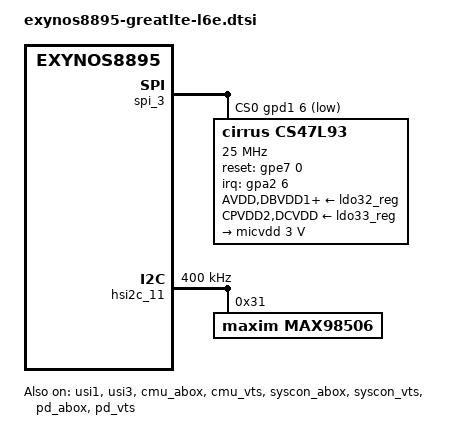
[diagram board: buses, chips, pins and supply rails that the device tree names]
// SPDX-License-Identifier: GPL-2.0 OR BSD-3-Clause
/*
 * Samsung Galaxy Note 8 (greatlte, SM-N950N) board DT, part "l6e":
 * L6E audio: codec, amplifier, ABOX, VTS (L6E 4).
 *
 * Included at the end of exynos8895-greatlte.dts, after L0's nodes, in the merge
 * order of FULL_IMAGE_PLAN.md 2.2. Owner: WP-6E; no other work package edits this
 * file (plan 2.3 rule D1). A node that two parts both configure (&usi9, &usi10)
 * is written identically in both files: dtc lets the later file win on a differing
 * value, which gl-verify V-DUP reports as an error. L0's reserved-memory stays in
 * the .dts; carveout additions and flag changes are &label edits here (plan X-8).
 */

#include <dt-bindings/clock/samsung,exynos8895.h>
#include <dt-bindings/gpio/gpio.h>
#include <dt-bindings/interrupt-controller/arm-gic.h>
#include <dt-bindings/soc/samsung,exynos-usi.h>

/*
 * Bus aliases of the codec SPI and the amplifier I2C (L6_rest 4.0): identical to
 * wp/l6f-fp's exynos8895-greatlte-l6com.dtsi (DUPLICATE, rule D1), so the amp stays
 * 11-0031 and the codec spi3.0 as in stock.
 */
/ {
	aliases {
		i2c11 = &hsi2c_11;	/* FDT:4182 hsi2c11 = "/hsi2c@104A0000" */
		spi3 = &spi_3;		/* FDT:4207 spi3 = "/spi@10460000" */
	};
};

/* ---- L6E 4.1: codec bus and CS47L93 ------------------------------------------------ */
&usi1 {
	samsung,mode = <USI_MODE_SPI>;		/* stock usi_mode "spi" (FDT:4987-5082) */
	status = "okay";
};

&pinctrl_peric0 {
	codec_reset: codec-reset-pins {		/* FDT:1596-1605 */
		samsung,pins = "gpe7-0";
		samsung,pin-function = <EXYNOS_PIN_FUNC_OUTPUT>;
		samsung,pin-pud = <EXYNOS_PIN_PULL_NONE>;
		samsung,pin-con-pdn = <3>;
		samsung,pin-pud-pdn = <1>;
		samsung,pin-val = <0>;
	};

	max98506_ctl: max98506-ctl-pins {	/* FDT:1615-1623 */
		samsung,pins = "gpf1-6";
		samsung,pin-function = <EXYNOS_PIN_FUNC_INPUT>;
		samsung,pin-pud = <EXYNOS_PIN_PULL_NONE>;
		samsung,pin-con-pdn = <2>;
		samsung,pin-pud-pdn = <0>;
	};
};

&pinctrl_alive {
	codec_irq: codec-irq-pins {		/* FDT:319-325 */
		samsung,pins = "gpa2-6";
		samsung,pin-function = <EXYNOS_PIN_FUNC_EINT>;
		samsung,pin-pud = <EXYNOS_PIN_PULL_NONE>;
	};
};

&spi_3 {
	/*
	 * Stock drove gpd1-6 as the controller's nCS in manual-CS mode (FDT:6320,
	 * :1474-1480, :6415). The 8895 port config forces CS_AUTO
	 * (A:drivers/spi/spi-s3c64xx.c:1562-1572), so the message-long CS stock gave
	 * the codec is a GPIO CS on the same pin (L6E 4.1, R-E4).
	 */
	pinctrl-names = "default";
	pinctrl-0 = <&spi3_bus &spi3_cs>;
	cs-gpios = <&gpd1 6 GPIO_ACTIVE_LOW>;
	status = "okay";

	cs47l93: codec@0 {
		compatible = "cirrus,cs47l93";		/* FDT:6324 */
		reg = <0>;
		spi-max-frequency = <25000000>;		/* FDT:6326 */
		interrupt-parent = <&gpa2>;		/* FDT:6330 */
		interrupts = <6 IRQ_TYPE_LEVEL_LOW>;	/* FDT:6327; irq-madera default level-low */
		interrupt-controller;
		#interrupt-cells = <2>;
		gpio-controller;
		#gpio-cells = <2>;
		#sound-dai-cells = <1>;
		pinctrl-names = "default";
		pinctrl-0 = <&codec_reset &codec_irq>;	/* FDT:6334-6335 */
		AVDD-supply = <&ldo32_reg>;		/* FDT:6336-6340 */
		DBVDD1-supply = <&ldo32_reg>;
		CPVDD1-supply = <&ldo32_reg>;
		CPVDD2-supply = <&ldo33_reg>;
		DCVDD-supply = <&ldo33_reg>;
		reset-gpios = <&gpe7 0 GPIO_ACTIVE_HIGH>;	/* FDT:6341 flags 0; ACK requests OUT_LOW = reset held */
		clocks = <&pmu_system_controller 0>;		/* MCLK1 = PMU CLKOUT0 (L6E 4.7) */
		clock-names = "mclk1";
		assigned-clocks = <&pmu_system_controller 0>;
		assigned-clock-parents = <&oscclk>;		/* CLKOUT0_SEL_TCXO (S:.../clkout_exynos8895.c:6) */
		cirrus,micbias1 = <1800 0 1 1 1 1 1 0>;		/* FDT:6342 <0x708 ...>, L6E 5.2(d) */
		cirrus,micbias2 = <2800 0 1 1 1 1 1 0>;		/* FDT:6343 <0xaf0 ...> */
		cirrus,dmic-ref = <0 1 1 0>;			/* FDT:6344 */
		cirrus,inmode = <0 0 0 0 0 0 0 0>;		/* stock <0 2 2 0 2 2 0 0>: DMIC inmode is set by "IN2 Mode" (L6E 4.1) */
		cirrus,out-mono = <0 0 1 1 0 0>;		/* FDT:6346 */
		cirrus,auxpdm-falling-edge;			/* FDT:6347 */
		cirrus,gpio-defaults = <0xffffffff 0xffffffff 0xffffffff 0xffffffff 0x2000 0x6000 0x2000 0x6000
					0x2000 0x6000 0x2000 0x6000 0x2000 0x6000 0x2000 0x6000 0x2001 0x9000
					0x2001 0x9000 0x2001 0x9000 0x2000 0x6000 0x2000 0x6000 0x2000 0x6000
					0x2000 0x6000 0x2000 0x6000>;	/* FDT:6348 verbatim, L6E 4.1a / 5.2(e) */
		cirrus,gpsw = <3>;				/* FDT:6349 */

		micvdd {					/* FDT:6408-6411 */
			regulator-min-microvolt = <3000000>;
			regulator-max-microvolt = <3000000>;
		};

		controller-data {				/* FDT:6413-6416 */
			samsung,spi-feedback-delay = <1>;
		};

		cirrus,accdet {					/* FDT:6353-6382 */
			#address-cells = <1>;
			#size-cells = <0>;

			acc@1 {
				reg = <2>;
				cirrus,micd-bias-start-time = <1>;
				cirrus,micd-pol-gpios = <0>;
				cirrus,micd-rate = <7>;
				cirrus,micd-detect-debounce-ms = <300>;
				cirrus,micd-clamp-mode = <8>;
				cirrus,jd-use-jd2;
				cirrus,hs-mic = <1>;
				cirrus,init-delay-ms = <30>;
				cirrus,micd-dbtime = <1>;
				cirrus,micd-timeout-ms = <1000>;
				cirrus,micd-force-micbias;
				cirrus,hpdet-short-circuit-imp = <2>;
				cirrus,micd-ranges = <116 226  173 582  321 115  752 114  1257 217>;
				cirrus,micd-software-compare;
				cirrus,micd-open-circuit-declare = <1>;
				cirrus,jd-wake-time = <5000>;
				cirrus,hpdet-ext-res = <3400>;
				cirrus,moisture-pin = <7>;
				cirrus,moisture-imp = <2000>;
				cirrus,moisture-debounce = <40>;
				cirrus,micd-configs = <0 1 4 0 1>;
				cirrus,hpd-pins = <2 5 0 0>;
			};
		};
	};
};

/* ---- L6E 4.2: amplifier bus and MAX98506 ------------------------------------------- */
&usi3 {
	samsung,mode = <USI_MODE_I2C0_1>;	/* stock "hsi2c0_hsi2c1" */
	status = "okay";
};

&hsi2c_11 {
	clock-frequency = <400000>;		/* stock HSI2C_FS_TX_CLOCK (S:drivers/i2c/busses/i2c-exynos5.c:212) */
	#address-cells = <1>;			/* I2C bus cells (the ACK node has a child only from here) */
	#size-cells = <0>;
	status = "okay";

	max98506: amplifier@31 {
		compatible = "maxim,max98506";		/* FDT:5418 */
		reg = <0x31>;				/* FDT:5420 */
		#sound-dai-cells = <1>;
		pinctrl-names = "default";
		pinctrl-0 = <&max98506_ctl>;		/* FDT:5422 second entry */
		maxim,spk-gain = <0x14>;		/* FDT:5425-5431 */
		maxim,sysclk = <12288000>;
		maxim,vmon_slot = <0>;
		maxim,platform_info = <0x02 0x00 0x00 0x00 0x00 0x2a>;
		maxim,boost_step = <15 15 15 15 15 15 15 15 15 15 15 15 15 15 2 0>;
		maxim,adc_threshold = <7>;
		maxim,registers-of-amp = <0x1f 0x00 0x21 0xc0 0x2d 0x14 0x2f 0x00>;
	};
};

/* ---- L6E 4.3: ABOX/VTS pins (selected only by the ABOX/VTS drivers, no_pm_save 5.11) - */
&pinctrl_abox {
	status = "okay";

	aud_codec_mclk: aud-codec-mclk-pins {			/* FDT:518-524 */
		samsung,pins = "gph0-0";
		samsung,pin-function = <2>;
		samsung,pin-pud = <1>;
	};
	aud_codec_mclk_idle: aud-codec-mclk-idle-pins {		/* FDT:526-532 */
		samsung,pins = "gph0-0";
		samsung,pin-function = <0>;
		samsung,pin-pud = <1>;
	};
	aud_codec_bus: aud-codec-bus-pins {			/* FDT:534-540 */
		samsung,pins = "gph0-1", "gph0-2", "gph0-3", "gph0-4";
		samsung,pin-function = <2>;
		samsung,pin-pud = <1>;
	};
	aud_codec_bus_idle: aud-codec-bus-idle-pins {		/* FDT:542-548 */
		samsung,pins = "gph0-1", "gph0-2", "gph0-3", "gph0-4";
		samsung,pin-function = <0>;
		samsung,pin-pud = <1>;
	};
	aud_spk_bus: aud-spk-bus-pins {				/* FDT:550-556 */
		samsung,pins = "gph0-5", "gph0-6", "gph0-7";
		samsung,pin-function = <2>;
		samsung,pin-pud = <1>;
	};
	aud_spk_bus_idle: aud-spk-bus-idle-pins {		/* FDT:558-564 */
		samsung,pins = "gph0-5", "gph0-6", "gph0-7";
		samsung,pin-function = <0>;
		samsung,pin-pud = <1>;
	};
	aud_fm_bus: aud-fm-bus-pins {				/* FDT:566-572 */
		samsung,pins = "gph1-0", "gph1-1", "gph1-2";
		samsung,pin-function = <2>;
		samsung,pin-pud = <1>;
	};
	aud_fm_bus_idle: aud-fm-bus-idle-pins {			/* FDT:574-580 */
		samsung,pins = "gph1-0", "gph1-1", "gph1-2";
		samsung,pin-function = <0>;
		samsung,pin-pud = <1>;
	};
	aud_bt_bus: aud-bt-bus-pins {				/* FDT:582-588 */
		samsung,pins = "gph1-3", "gph1-4", "gph1-5", "gph1-6";
		samsung,pin-function = <2>;
		samsung,pin-pud = <1>;
	};
	aud_bt_bus_idle: aud-bt-bus-idle-pins {			/* FDT:590-596 */
		samsung,pins = "gph1-3", "gph1-4", "gph1-5", "gph1-6";
		samsung,pin-function = <0>;
		samsung,pin-pud = <1>;
	};
	aud_cdma_bus: aud-cdma-bus-pins {			/* FDT:598-604 */
		samsung,pins = "gph3-0", "gph3-1", "gph3-2", "gph3-3";
		samsung,pin-function = <2>;
		samsung,pin-pud = <1>;
	};
	aud_cdma_bus_idle: aud-cdma-bus-idle-pins {		/* FDT:606-612 */
		samsung,pins = "gph3-0", "gph3-1", "gph3-2", "gph3-3";
		samsung,pin-function = <0>;
		samsung,pin-pud = <1>;
	};
};

&pinctrl_vts {
	status = "okay";

	dmic_bus_clk: dmic-bus-clk-pins {			/* FDT:626-633 */
		samsung,pins = "gph2-2";
		samsung,pin-function = <2>;
		samsung,pin-pud = <1>;
		samsung,pin-con-pdn = <2>;
	};
	amic_bus_clk: amic-bus-clk-pins {			/* FDT:635-642 */
		samsung,pins = "gph2-2";
		samsung,pin-function = <0>;
		samsung,pin-pud = <0>;
		samsung,pin-con-pdn = <2>;
	};
	mic_bus_clk_idle: mic-bus-clk-idle-pins {		/* FDT:644-651 */
		samsung,pins = "gph2-2";
		samsung,pin-function = <0>;
		samsung,pin-pud = <0>;
		samsung,pin-con-pdn = <2>;
	};
	dmic_pdm: dmic-pdm-pins {				/* FDT:653-660 */
		samsung,pins = "gph2-1";
		samsung,pin-function = <2>;
		samsung,pin-pud = <1>;
		samsung,pin-con-pdn = <2>;
	};
	dmic_pdm_idle: dmic-pdm-idle-pins {			/* FDT:662-669 */
		samsung,pins = "gph2-1";
		samsung,pin-function = <0>;
		samsung,pin-pud = <0>;
		samsung,pin-con-pdn = <2>;
	};
	amic_pdm: amic-pdm-pins {				/* FDT:671-678 */
		samsung,pins = "gph2-0";
		samsung,pin-function = <2>;
		samsung,pin-pud = <0>;
		samsung,pin-con-pdn = <2>;
	};
	amic_pdm_idle: amic-pdm-idle-pins {			/* FDT:680-687 */
		samsung,pins = "gph2-0";
		samsung,pin-function = <0>;
		samsung,pin-pud = <0>;
		samsung,pin-con-pdn = <2>;
	};
};

/* ---- L6E 4.4: CMUs, power domains, SYSREGs ----------------------------------------- */
&cmu_abox { status = "okay"; };
&cmu_vts { status = "okay"; };
&syscon_abox { status = "okay"; };
&syscon_vts { status = "okay"; };

&pd_abox {
	samsung,pmu-syscon = <&pmu_system_controller>;
	samsung,sysreg = <&syscon_abox>;
	status = "okay";
};

&pd_vts {
	samsung,pmu-syscon = <&pmu_system_controller>;
	samsung,sysreg = <&syscon_vts>;
	status = "okay";
};

/* ---- L6E 4.7: codec MCLK = PMU CLKOUT0 (identical in exynos8895-greatlte-l6i.dtsi) --- */
&pmu_system_controller {
	clocks = <&oscclk>;			/* CLKOUT0 source 1 = TCXO */
	clock-names = "clkout1";
	#clock-cells = <1>;
};

/* ---- L6E 4.5: ABOX SysMMU, GIC and ABOX -------------------------------------------- */
&sysmmu_abox { status = "okay"; };
&abox_gic { status = "okay"; };

/ {
	abox: abox@13e50000 {					/* FDT:7941-8161; root node (F-10) */
		compatible = "samsung,exynos8895-abox";
		reg = <0x0 0x13e50000 0x10000>, <0x0 0x13f00000 0x31000>;	/* FDT:7943 sfr, sram */
		reg-names = "sfr", "sram";
		#address-cells = <2>;
		#size-cells = <1>;
		ranges;
		power-domains = <&pd_abox>;
		iommus = <&sysmmu_abox>;			/* FDT:7961 */
		memory-region = <&abox_rmem>;			/* stock on abox_debug (FDT:8089-8092) */
		samsung,pmu-syscon = <&pmu_system_controller>;
		samsung,sysreg = <&syscon_abox>;
		samsung,abox-gic = <&abox_gic>;			/* FDT:7957 */
		samsung,vts = <&vts>;				/* FDT:7958 */
		samsung,ipc-tx-offset = <0x30000>;		/* FDT:7952-7956 */
		samsung,ipc-rx-offset = <0x30300>;
		samsung,ipc-tx-ack-offset = <0x302fc>;
		samsung,ipc-rx-ack-offset = <0x305fc>;
		samsung,mailbox-offset = <0x30600>;
		samsung,pm-qos-int = <533000 400000 0 0 0>;	/* FDT:7962 */
		clocks = <&cmu_abox CLK_MOUT_ABOX_PLL_AUD>, <&cmu_abox CLK_DOUT_ABOX_PLL>,
			 <&cmu_abox CLK_DOUT_ABOX_AUDIF>,
			 <&cmu_abox CLK_DOUT_ABOX_UAIF0>, <&cmu_abox CLK_DOUT_ABOX_UAIF1>,
			 <&cmu_abox CLK_DOUT_ABOX_UAIF2>, <&cmu_abox CLK_DOUT_ABOX_UAIF3>,
			 <&cmu_abox CLK_DOUT_ABOX_UAIF4>, <&cmu_abox CLK_DOUT_ABOX_DSIF>,
			 <&cmu_abox CLK_DOUT_ABOX_DMIC>,
			 <&cmu_abox CLK_GOUT_ABOX_BCLK_UAIF0>, <&cmu_abox CLK_GOUT_ABOX_BCLK_UAIF1>,
			 <&cmu_abox CLK_GOUT_ABOX_BCLK_UAIF2>, <&cmu_abox CLK_GOUT_ABOX_BCLK_UAIF3>,
			 <&cmu_abox CLK_GOUT_ABOX_BCLK_UAIF4>, <&cmu_abox CLK_GOUT_ABOX_BCLK_DSIF>,
			 <&cmu_abox CLK_FOUT_PLL_AUD>, <&oscclk>, <&cmu_abox CLK_DOUT_ABOX_BUS>;
		clock-names = "pll", "ca7", "audif", "bclk0", "bclk1", "bclk2", "bclk3", "bclk4", "bclk5", "dmic",
			      "bclk0_gate", "bclk1_gate", "bclk2_gate", "bclk3_gate", "bclk4_gate", "bclk5_gate",
			      "pll_fout", "oscclk", "bus";	/* FDT:7959-7960 order + the 3 CCF clocks (L6E 5.7.3) */
		pinctrl-names = "active", "idle";		/* stock "default"/"idle" (FDT:7948-7950), L6E 4.3 */
		pinctrl-0 = <&aud_codec_mclk &aud_codec_bus &aud_spk_bus &aud_fm_bus &aud_bt_bus &aud_cdma_bus>;
		pinctrl-1 = <&aud_codec_mclk_idle &aud_codec_bus_idle &aud_spk_bus_idle &aud_fm_bus_idle
			     &aud_bt_bus_idle &aud_cdma_bus_idle>;
		#sound-dai-cells = <1>;

		abox_rdma0: abox_rdma@13e51000 {		/* FDT:7967-7976 */
			compatible = "samsung,exynos8895-abox-rdma";
			reg = <0x0 0x13e51000 0x100>;
			samsung,id = <0>;
			samsung,type = "normal";
			#sound-dai-cells = <0>;
		};
		abox_rdma1: abox_rdma@13e51100 {		/* FDT:7978-7987 */
			compatible = "samsung,exynos8895-abox-rdma";
			reg = <0x0 0x13e51100 0x100>;
			samsung,id = <1>;
			samsung,type = "normal";
			#sound-dai-cells = <0>;
		};
		abox_rdma2: abox_rdma@13e51200 {		/* FDT:7989-7998 */
			compatible = "samsung,exynos8895-abox-rdma";
			reg = <0x0 0x13e51200 0x100>;
			samsung,id = <2>;
			samsung,type = "normal";
			#sound-dai-cells = <0>;
		};
		abox_rdma3: abox_rdma@13e51300 {		/* FDT:8000-8006 */
			compatible = "samsung,exynos8895-abox-rdma";
			reg = <0x0 0x13e51300 0x100>;
			samsung,id = <3>;
			samsung,type = "sync";
			#sound-dai-cells = <0>;
		};
		abox_rdma4: abox_rdma@13e51400 {		/* FDT:8008-8014 */
			compatible = "samsung,exynos8895-abox-rdma";
			reg = <0x0 0x13e51400 0x100>;
			samsung,id = <4>;
			samsung,type = "call";
			#sound-dai-cells = <0>;
		};
		abox_rdma5: abox_rdma@13e51500 {		/* FDT:8016-8022 */
			compatible = "samsung,exynos8895-abox-rdma";
			reg = <0x0 0x13e51500 0x100>;
			samsung,id = <5>;
			samsung,type = "compress";
			#sound-dai-cells = <0>;
		};
		abox_rdma6: abox_rdma@13e51600 {		/* FDT:8024-8030 */
			compatible = "samsung,exynos8895-abox-rdma";
			reg = <0x0 0x13e51600 0x100>;
			samsung,id = <6>;
			samsung,type = "realtime";
			#sound-dai-cells = <0>;
		};
		abox_rdma7: abox_rdma@13e51700 {		/* FDT:8032-8038 */
			compatible = "samsung,exynos8895-abox-rdma";
			reg = <0x0 0x13e51700 0x100>;
			samsung,id = <7>;
			samsung,type = "realtime";
			#sound-dai-cells = <0>;
		};
		abox_wdma0: abox_wdma@13e52000 {		/* FDT:8040-8046 */
			compatible = "samsung,exynos8895-abox-wdma";
			reg = <0x0 0x13e52000 0x100>;
			samsung,id = <0>;
			samsung,type = "normal";
			#sound-dai-cells = <0>;
		};
		abox_wdma1: abox_wdma@13e52100 {		/* FDT:8048-8054 */
			compatible = "samsung,exynos8895-abox-wdma";
			reg = <0x0 0x13e52100 0x100>;
			samsung,id = <1>;
			samsung,type = "normal";
			#sound-dai-cells = <0>;
		};
		abox_wdma2: abox_wdma@13e52200 {		/* FDT:8056-8062 */
			compatible = "samsung,exynos8895-abox-wdma";
			reg = <0x0 0x13e52200 0x100>;
			samsung,id = <2>;
			samsung,type = "call";
			#sound-dai-cells = <0>;
		};
		abox_wdma3: abox_wdma@13e52300 {		/* FDT:8064-8070 */
			compatible = "samsung,exynos8895-abox-wdma";
			reg = <0x0 0x13e52300 0x100>;
			samsung,id = <3>;
			samsung,type = "realtime";
			#sound-dai-cells = <0>;
		};
		abox_wdma4: abox_wdma@13e52400 {		/* FDT:8072-8078 */
			compatible = "samsung,exynos8895-abox-wdma";
			reg = <0x0 0x13e52400 0x100>;
			samsung,id = <4>;
			samsung,type = "vi-sensing";
			#sound-dai-cells = <0>;
		};

		abox_effect: abox_effect@13f2e000 {		/* FDT:8080-8087 */
			compatible = "samsung,exynos8895-abox-effect";
			reg = <0x0 0x13f2e000 0x1000>;
			reg-names = "reg";
			#sound-dai-cells = <0>;
		};

		abox_debug@0 {					/* FDT:8089-8092; memory-region on the parent */
			compatible = "samsung,exynos8895-abox-debug";
		};

		abox_vss@0 {					/* FDT:8094-8096 */
			compatible = "samsung,exynos8895-abox-vss";
		};

		abox_adaptation: abox_adaptation {		/* FDT:8154-8160 */
			compatible = "samsung,exynos8895-abox-adaptation";
			#sound-dai-cells = <1>;
		};

		ext-bin {					/* FDT:8098-8152 ext_bin@0..5; @6/@7 disabled dummies omitted */
			bin0 {
				samsung,name = "dsm.bin";
				samsung,area = <1>;
				samsung,offset = <0x502000>;
			};
			bin1 {
				samsung,name = "AP_AUDIO_SLSI.bin";
				samsung,area = <1>;
				samsung,offset = <0x7f0000>;
			};
			bin2 {
				samsung,name = "APBargeIn_AUDIO_SLSI.bin";
				samsung,area = <1>;
				samsung,offset = <0x7ec000>;
			};
			bin3 {
				samsung,name = "SoundBoosterParam.bin";
				samsung,area = <1>;
				samsung,offset = <0x4fc000>;
			};
			bin4 {
				samsung,name = "APBiBF_AUDIO_SLSI.bin";
				samsung,area = <1>;
				samsung,offset = <0x7ef000>;
			};
			bin5 {
				samsung,name = "dsm_tune.bin";
				samsung,area = <1>;
				samsung,offset = <0x601000>;
			};
		};
	};
};

/* ---- L6E 4.6: VTS mailbox and VTS -------------------------------------------------- */
&vts_mailbox { status = "okay"; };

/ {
	vts: vts@14020000 {					/* FDT:8175-8215; root node (F-10) */
		compatible = "samsung,exynos8895-vts";
		reg = <0x0 0x14020000 0x10000>, <0x0 0x14100000 0x59800>,
		      <0x0 0x14070000 0x8>, <0x0 0x141f0000 0x50>;	/* FDT:8177 */
		reg-names = "sfr", "sram", "dmic", "gpr";
		#address-cells = <2>;
		#size-cells = <1>;
		ranges;
		power-domains = <&pd_vts>;			/* stock samsung,power-domain pd-vts (FDT:8186) */
		clocks = <&cmu_vts CLK_VTS_OSC>, <&cmu_vts CLK_DOUT_VTS_DMIC>,
			 <&cmu_vts CLK_DOUT_VTS_DMICIF>, <&cmu_vts CLK_DOUT_VTS_DMIC_DIV2>;	/* FDT:8187 (F-27) */
		clock-names = "rco", "dmic", "dmic_if", "dmic_sync";
		samsung,mailbox = <&vts_mailbox>;		/* FDT:8189 */
		interrupt-parent = <&vts_mailbox>;		/* FDT:8190 */
		interrupts = <0>, <1>, <2>, <3>, <4>, <5>;	/* FDT:8191 */
		interrupt-names = "error", "boot_completed", "ipc_received", "voice_triggered",
				  "trigger_period_elapsed", "record_period_elapsed";
		pinctrl-names = "dmic_default", "amic_default", "idle";	/* FDT:8182 */
		pinctrl-0 = <&dmic_bus_clk &dmic_pdm>;
		pinctrl-1 = <&amic_bus_clk &amic_pdm>;
		pinctrl-2 = <&mic_bus_clk_idle &dmic_pdm_idle &amic_pdm_idle>;
		samsung,pmu-syscon = <&pmu_system_controller>;
		lpsd-gain = <0>;				/* FDT:8194-8196 */
		dmic-gain = <0>;
		amic-gain = <4>;
		#sound-dai-cells = <1>;

		vts_dma0: vts-dma-0 {				/* FDT:8200-8206; size-0 reg dropped (L6E 4.6) */
			compatible = "samsung,exynos8895-vts-dma";
			samsung,id = <0>;
			samsung,type = "vts-trigger";
			#sound-dai-cells = <0>;
		};
		vts_dma1: vts-dma-1 {				/* FDT:8208-8214 */
			compatible = "samsung,exynos8895-vts-dma";
			samsung,id = <1>;
			samsung,type = "vts-record";
			#sound-dai-cells = <0>;
		};
	};

	/* ---- L6E 4.8: sound card ----------------------------------------------------- */
	sound {							/* FDT:11299-11559 */
		compatible = "samsung,exynos8895-madera";
		clocks = <&pmu_system_controller 0>;		/* xclkout = CLKOUT0 (F-27) */
		clock-names = "xclkout";
		cirrus,sysclk = <1 5 98304000>;			/* FDT:11304-11309 */
		cirrus,asyncclk = <2 6 98304000>;
		cirrus,dspclk = <8 5 147456000>;
		cirrus,outclk = <9 2 0>;
		cirrus,fll1-refclk = <1 1 26000000>;
		cirrus,fll2-refclk = <2 9 26000000>;
		samsung,routing =				/* FDT:11310; IN1BL/IN2AL -> ACK P/N pairs (L6E 4.8) */
			"HEADSETMIC", "MICBIAS2A", "IN1BLN", "HEADSETMIC", "IN1BLP", "HEADSETMIC",
			"DMIC1", "MICBIAS1A", "IN3L", "DMIC1",
			"DMIC2", "MICBIAS1B", "IN2ALN", "DMIC2", "IN2ALP", "DMIC2", "VTS PAD DPDM", "DMIC1",
			"RECEIVER", "HPOUT3L", "RECEIVER", "HPOUT3R", "RECEIVER", "HPOUT4L", "RECEIVER", "HPOUT4R",
			"HEADPHONE", "HPOUT2L", "HEADPHONE", "HPOUT2R",
			"BLUETOOTH SPK", "ABOX UAIF3 Playback", "ABOX UAIF3 Capture", "BLUETOOTH MIC",
			"VOUTPUT", "ABOX UAIF0 Playback", "ABOX UAIF1 Capture", "VINPUT1", "ABOX UAIF4 Capture", "VINPUT2",
			"SPEAKER", "HiFi Playback", "VOUTPUTCALL", "ABOX UAIF2 Playback", "ABOX UAIF2 Capture", "VINPUTCALL",
			"VTS Virtual Output", "VTS Virtual Output Mux";
		samsung,codec = <&abox &vts>;			/* FDT:11311: prefixes "ABOX", "VTS" */
		samsung,aux = <&abox_effect>;			/* FDT:11312 */

		/* links 0..21 in stock order; cpu index = ABOX DAI array position (L6E 4.8) */
		rdma@0 { cpu { sound-dai = <&abox 6>; }; platform { sound-dai = <&abox_rdma0>; }; };
		rdma@1 { cpu { sound-dai = <&abox 7>; }; platform { sound-dai = <&abox_rdma1>; }; };
		rdma@2 { cpu { sound-dai = <&abox 8>; }; platform { sound-dai = <&abox_rdma2>; }; };
		rdma@3 { cpu { sound-dai = <&abox 9>; }; platform { sound-dai = <&abox_rdma3>; }; };
		rdma@4 { cpu { sound-dai = <&abox 10>; }; platform { sound-dai = <&abox_rdma4>; }; };
		rdma@5 { cpu { sound-dai = <&abox 11>; }; platform { sound-dai = <&abox_rdma5>; }; };
		rdma@6 { cpu { sound-dai = <&abox 12>; }; platform { sound-dai = <&abox_rdma6>; }; };
		rdma@7 { cpu { sound-dai = <&abox 13>; }; platform { sound-dai = <&abox_rdma7>; }; };
		wdma@0 { cpu { sound-dai = <&abox 14>; }; platform { sound-dai = <&abox_wdma0>; }; };
		wdma@1 { cpu { sound-dai = <&abox 15>; }; platform { sound-dai = <&abox_wdma1>; }; };
		wdma@2 { cpu { sound-dai = <&abox 16>; }; platform { sound-dai = <&abox_wdma2>; }; };
		wdma@3 { cpu { sound-dai = <&abox 17>; }; platform { sound-dai = <&abox_wdma3>; }; };
		wdma@4 { cpu { sound-dai = <&abox 18>; }; platform { sound-dai = <&abox_wdma4>; }; };
		uaif@0 { cpu { sound-dai = <&abox 0>; }; codec { sound-dai = <&cs47l93 0>; }; };
		uaif@1 { cpu { sound-dai = <&abox 1>; }; };
		uaif@2 { cpu { sound-dai = <&abox 2>; }; };
		uaif@3 { cpu { sound-dai = <&abox 3>; }; };
		uaif@4 {
			cpu { sound-dai = <&abox 4>; };
			platform { sound-dai = <&abox_adaptation 0>; };
			codec { sound-dai = <&max98506 0>; };
		};
		dsif@0 { cpu { sound-dai = <&abox 5>; }; };
		internal@0 { cpu { sound-dai = <&abox 19>; }; };
		vts@0 { cpu { sound-dai = <&vts 0>; }; platform { sound-dai = <&vts_dma0>; }; };
		vts@1 { cpu { sound-dai = <&vts 1>; }; platform { sound-dai = <&vts_dma1>; }; };
	};
};
